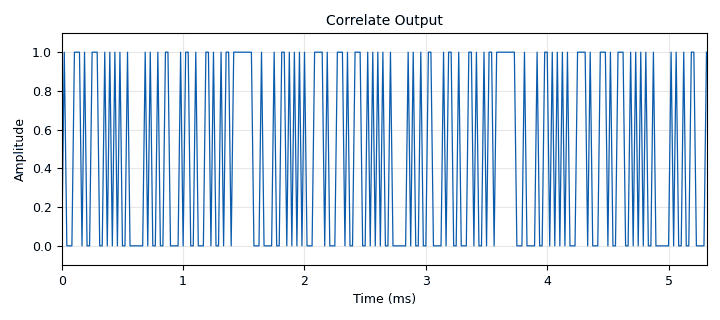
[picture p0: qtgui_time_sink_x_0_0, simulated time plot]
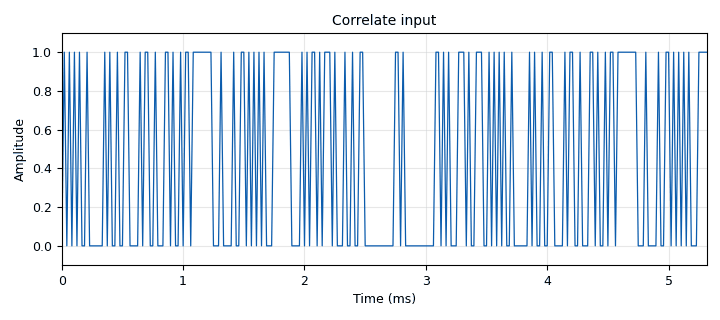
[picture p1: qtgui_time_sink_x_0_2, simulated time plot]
options:
  parameters:
    author: Barry Duggan
    description: packet transmit
    generate_options: qt_gui
    id: pkt_8
    output_language: python
    title: pkt_8
  states: {}

blocks:
- name: access_key
  id: variable
  parameters:
    value: '''11100001010110101110100010010011'''
  states: {}
- name: hdr_format
  id: variable
  parameters:
    comment: header_format_default
    value: digital.header_format_default(access_key, 0)
  states: {}
- name: samp_rate
  id: variable
  parameters:
    value: '48000'
  states: {}
- name: thresh
  id: variable
  parameters:
    value: '1'
  states: {}
- name: blocks_message_debug_0
  id: blocks_message_debug
  parameters: {}
  states: {}
- name: blocks_message_strobe_0
  id: blocks_message_strobe
  parameters:
    msg: pmt.cons(pmt.PMT_NIL,pmt.init_u8vector(9,(71,78,85,32,82,97,100,105,111)))
    period: '500'
  states: {}
- name: blocks_repack_bits_bb_1_0
  id: blocks_repack_bits_bb
  parameters:
    comment: MSB
    endianness: gr.GR_MSB_FIRST
    k: '8'
    l: '1'
    len_tag_key: '"packet_len"'
  states: {}
- name: blocks_repack_bits_bb_1_0_0
  id: blocks_repack_bits_bb
  parameters:
    comment: MSB
    endianness: gr.GR_MSB_FIRST
    k: '1'
    l: '8'
    len_tag_key: '"packet_len"'
  states: {}
- name: blocks_tagged_stream_mux_0
  id: blocks_tagged_stream_mux
  parameters:
    lengthtagname: packet_len
    ninputs: '2'
    type: byte
  states: {}
- name: blocks_throttle2_0
  id: blocks_throttle2
  parameters:
    samples_per_second: samp_rate
    type: byte
  states: {}
- name: blocks_uchar_to_float_0_0
  id: blocks_uchar_to_float
  parameters: {}
  states: {}
- name: blocks_uchar_to_float_0_0_0
  id: blocks_uchar_to_float
  parameters: {}
  states: {}
- name: digital_correlate_access_code_xx_ts_0
  id: digital_correlate_access_code_xx_ts
  parameters:
    access_code: access_key
    tagname: packet_len
    threshold: thresh
    type: byte
  states: {}
- name: digital_crc_append_0
  id: digital_crc_append
  parameters:
    poly: '0x4C11DB7'
  states: {}
- name: digital_crc_check_0
  id: digital_crc_check
  parameters:
    comment: Discard CRC = True
    discard_crc: 'True'
    poly: '0x4C11DB7'
  states: {}
- name: digital_protocol_formatter_async_0
  id: digital_protocol_formatter_async
  parameters:
    format: hdr_format
  states: {}
- name: pdu_pdu_to_tagged_stream_0
  id: pdu_pdu_to_tagged_stream
  parameters:
    comment: Header
    tag: packet_len
    type: byte
  states: {}
- name: pdu_pdu_to_tagged_stream_0_0
  id: pdu_pdu_to_tagged_stream
  parameters:
    comment: Payload
    tag: packet_len
    type: byte
  states: {}
- name: pdu_tagged_stream_to_pdu_0_0
  id: pdu_tagged_stream_to_pdu
  parameters:
    tag: packet_len
    type: byte
  states: {}
- name: qtgui_time_sink_x_0_0
  id: qtgui_time_sink_x
  parameters:
    comment: 1,2,1,2
    gui_hint: 1,2,1,2
    label1: ''
    name: Correlate Output
    size: '256'
    srate: samp_rate
    tr_delay: '0.0'
    tr_level: '0.1'
    tr_mode: qtgui.TRIG_MODE_TAG
    tr_tag: '"packet_len"'
    type: float
    ymax: '1.1'
    ymin: '-0.1'
  states: {}
- name: qtgui_time_sink_x_0_2
  id: qtgui_time_sink_x
  parameters:
    comment: 1,0,1,2
    gui_hint: 1,0,1,2
    label1: ''
    name: Correlate input
    size: '256'
    srate: samp_rate
    tr_delay: '0.0'
    tr_level: '0.2'
    tr_tag: '"packet_len"'
    type: float
    ymax: '1.1'
    ymin: '-0.1'
  states: {}
- name: virtual_sink_0
  id: virtual_sink
  parameters:
    stream_id: packet_bytes
  states: {}
- name: virtual_sink_1
  id: virtual_sink
  parameters:
    stream_id: demod_bits
  states: {}
- name: virtual_source_0
  id: virtual_source
  parameters:
    stream_id: packet_bytes
  states: {}
- name: virtual_source_1
  id: virtual_source
  parameters:
    stream_id: demod_bits
  states: {}

connections:
- [blocks_message_strobe_0, strobe, digital_crc_append_0, in]
- [blocks_repack_bits_bb_1_0, '0', blocks_throttle2_0, '0']
- [blocks_repack_bits_bb_1_0_0, '0', pdu_tagged_stream_to_pdu_0_0, '0']
- [blocks_tagged_stream_mux_0, '0', virtual_sink_0, '0']
- [blocks_throttle2_0, '0', virtual_sink_1, '0']
- [blocks_uchar_to_float_0_0, '0', qtgui_time_sink_x_0_2, '0']
- [blocks_uchar_to_float_0_0_0, '0', qtgui_time_sink_x_0_0, '0']
- [digital_correlate_access_code_xx_ts_0, '0', blocks_repack_bits_bb_1_0_0, '0']
- [digital_correlate_access_code_xx_ts_0, '0', blocks_uchar_to_float_0_0_0, '0']
- [digital_crc_append_0, out, digital_protocol_formatter_async_0, in]
- [digital_crc_check_0, ok, blocks_message_debug_0, print]
- [digital_protocol_formatter_async_0, header, pdu_pdu_to_tagged_stream_0, pdus]
- [digital_protocol_formatter_async_0, payload, pdu_pdu_to_tagged_stream_0_0, pdus]
- [pdu_pdu_to_tagged_stream_0, '0', blocks_tagged_stream_mux_0, '0']
- [pdu_pdu_to_tagged_stream_0_0, '0', blocks_tagged_stream_mux_0, '1']
- [pdu_tagged_stream_to_pdu_0_0, pdus, digital_crc_check_0, in]
- [virtual_source_0, '0', blocks_repack_bits_bb_1_0, '0']
- [virtual_source_1, '0', blocks_uchar_to_float_0_0, '0']
- [virtual_source_1, '0', digital_correlate_access_code_xx_ts_0, '0']

metadata:
  file_format: 1
  grc_version: 3.10.7.0
